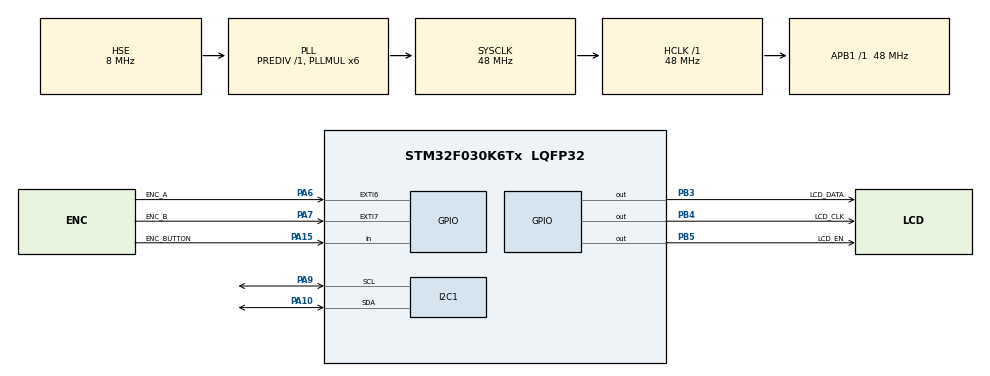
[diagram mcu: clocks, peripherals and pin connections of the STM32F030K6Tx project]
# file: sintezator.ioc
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I2C1.Timing=0x20303E5D
Mcu.Family=STM32F0
Mcu.Name=STM32F030K6Tx
Mcu.Package=LQFP32
NVIC.EXTI4_15_IRQn=true\:0\:0\:true\:false\:true\:true\:true
PA10.GPIO_Pu=GPIO_PULLUP
PA10.Mode=I2C
PA10.Signal=I2C1_SDA
PA13.Mode=Serial_Wire
PA13.Signal=SYS_SWDIO
PA14.Mode=Serial_Wire
PA14.Signal=SYS_SWCLK
PA15.GPIO_Label=ENC_BUTTON
PA15.GPIO_PuPd=GPIO_PULLUP
PA15.Signal=GPIO_Input
PA6.GPIO_Label=ENC_A
PA6.GPIO_ModeDefaultEXTI=GPIO_MODE_IT_RISING_FALLING
PA6.GPIO_PuPd=GPIO_PULLUP
PA6.Signal=GPXTI6
PA7.GPIO_Label=ENC_B
PA7.GPIO_ModeDefaultEXTI=GPIO_MODE_IT_RISING_FALLING
PA7.GPIO_PuPd=GPIO_PULLUP
PA7.Signal=GPXTI7
PA9.GPIO_Pu=GPIO_PULLUP
PA9.Mode=I2C
PA9.Signal=I2C1_SCL
PB3.GPIO_Label=LCD_DATA
PB3.Signal=GPIO_Output
PB4.GPIO_Label=LCD_CLK
PB4.Signal=GPIO_Output
PB5.GPIO_Label=LCD_EN
PB5.Signal=GPIO_Output
PF0-OSC_IN.Mode=HSE-External-Oscillator
PF0-OSC_IN.Signal=RCC_OSC_IN
PF1-OSC_OUT.Mode=HSE-External-Oscillator
PF1-OSC_OUT.Signal=RCC_OSC_OUT
ProjectManager.HeapSize=0x200
ProjectManager.StackSize=0x400
ProjectManager.TargetToolchain=STM32CubeIDE
RCC.AHBFreq_Value=48000000
RCC.APB1Freq_Value=48000000
RCC.APB1TimFreq_Value=48000000
RCC.EnbaleCSS=true
RCC.HCLKFreq_Value=48000000
RCC.I2c1ClockSelection=RCC_I2C1CLKSOURCE_SYSCLK
RCC.PLLMUL=RCC_PLL_MUL6
RCC.PLLSourceVirtual=RCC_PLLSOURCE_HSE
RCC.SYSCLKFreq_VALUE=48000000
RCC.SYSCLKSource=RCC_SYSCLKSOURCE_PLLCLK
board=custom

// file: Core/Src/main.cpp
/* USER CODE BEGIN Header */
/**
  ******************************************************************************
  * @file           : main.c
  * @brief          : Main program body
  ******************************************************************************
  * @attention
  *
  * Copyright (c) 2022 STMicroelectronics.
  * All rights reserved.
  *
  * This software is licensed under terms that can be found in the LICENSE file
  * in the root directory of this software component.
  * If no LICENSE file comes with this software, it is provided AS-IS.
  *
  ******************************************************************************
  */
/* USER CODE END Header */
#include "main.h"

/* USER CODE BEGIN Includes */
#include "LCD.h"
#include "encoder.h"
#include "si5351.h"
#include "veeprom.h"
/* USER CODE END Includes */

/* USER CODE BEGIN PD */
#define BUTTONS (~GPIOA->IDR & ENC_BUTTON_Pin)
/* USER CODE END PD */

I2C_HandleTypeDef hi2c1;
LCD lcd;
FLASH_EEPROM eeprom;

volatile bool change = true;
extern int8_t encoder_val;

unsigned long freq = 3100000UL;

// 0=not in menu, 1=selects menu item, 2=selects parameter value
volatile int8_t menumode = 0;

uint8_t prev_bandval = 1;
uint8_t bandval = 1;
#define N_BANDS 12
const char* band_label[N_BANDS] = { "160m", "100m", "80m", "60m", "40m", "30m", "20m", "17m", "15m", "12m", "10m", "6m" };

const char* stepsize_label[] = { "10M", "1M", "0.5M", "100k", "10k", "1k", "0.5k", "100", "10", "1" };
enum step_t { STEP_10M, STEP_1M, STEP_500k, STEP_100k, STEP_10k, STEP_1k, STEP_500, STEP_100, STEP_10, STEP_1 };
uint32_t stepsizes[10] = { 10000000, 1000000, 500000, 100000, 10000, 1000, 500, 100, 10, 1 };
volatile uint8_t stepsize = STEP_1k;
uint8_t prev_stepsize[] = { STEP_1k, STEP_500 }; //default stepsize for resp. SSB, CW

volatile uint8_t prev_menumode = 0;
volatile int8_t menu = 0;  // current parameter id selected in menu

volatile uint8_t event;
typedef enum {
   BUTTON_TX = 0x10, BUTTON_IF = 0x20, BUTTON_ENCODER = 0x30, BUTTON_RIT = 0x40
} event_t;

typedef enum
{
    NO_PRESS,
    SINGLE_PRESS = 0x01,
    LONG_PRESS = 0x02,
    DOUBLE_PRESS = 0x03,
    PRESS_TURN = 0x04,
    PLC = 0x05
} eButtonEvent;

typedef enum
{
  _NULL_PARAM, VOLUME, MODE, FILTER, BAND, STEP, VFOSEL, RIT, AGC,
  ATT, SMETER, SWRMETER, CWDEC, CWTONE, CWOFF, SEMIQSK, KEY_WPM, KEY_MODE,
  DRIVE, PWM_MIN, PWM_MAX, SI5351_FXTAL, VFO_A, VERS,
  ALL = 0x20
} eParams_t;

const char* offon_label[2] = {"OFF", "ON"};
const char* smode_label[] = { "OFF", "dBm", "S", "S-bar", "wpm", "Vss" };
const char* swr_label[] = { "OFF", "FWD-SWR", "FWD-REF", "VFWD-VREF" };
const char* att_label[] = { "0dB", "-13dB", "-20dB", "-33dB", "-40dB", "-53dB", "-60dB", "-73dB" };

volatile int8_t volume = 12;
volatile int8_t filt = 0;

int8_t eeprom_version;
unsigned long eeprom_addr;

// Support functions for parameter and menu handling
typedef enum { UPDATE, UPDATE_MENU, NEXT_MENU, LOAD, SAVE, SKIP, NEXT_CH } action_t;

const char* mode_label[5] = { "LSB", "USB", "CW ", "FM ", "AM " };
typedef enum { LSB, USB, CW, FM, AM } eMode_t;
volatile int8_t mode = AM;

#define N_FILT 7
int8_t prev_filt[] = { 0 , 4 }; // default filter for modes resp. CW, SSB
const char* filt_label[N_FILT + 1] = { "Full", "3000", "2400", "1800", "500", "200", "100", "50" };

static int16_t pwm_min = 0;    // PWM value for which PA reaches its minimum: 29 when C31 installed;   0 when C31 removed;   0 for biasing BS170 directly
static int16_t pwm_max = 128;  // PWM value for which PA reaches its maximum:                                              128 for biasing BS170 directly

unsigned long si5351_XTAL = SI5351_XTAL_FREQ;

void SystemClock_Config(void);
static void MX_GPIO_Init(void);
static void MX_I2C1_Init(void);
/* USER CODE BEGIN PFP */
void stepsize_showcursor();
void process_encoder_tuning_step(int8_t steps);
void display_vfo(int32_t freq);
void show_banner();
void stepsize_change(int8_t val);
template <typename T> void paramAction(uint8_t action, T& value, uint8_t menuid, const char *label, const char* enumArray[], int32_t _min, int32_t _max, bool continuous);
int8_t paramAction(uint8_t action, uint8_t id);
/* USER CODE END PFP */

int main(void)
{

  /* MCU Configuration--------------------------------------------------------*/

  /* Reset of all peripherals, Initializes the Flash interface and the Systick. */
  HAL_Init();

  /* Configure the system clock */
  SystemClock_Config();

  /* Initialize all configured peripherals */
  MX_GPIO_Init();
  MX_I2C1_Init();
  /* USER CODE BEGIN 2 */
  lcd.init();

  // Load parameters from EEPROM, reset to factory defaults when stored values are from a different version
/*
  paramAction(LOAD, VERS);
  if((eeprom_version != get_version_id()) || _digitalRead(BUTTONS)){  // EEPROM clean: if rotary-key pressed or version signature in EEPROM does NOT corresponds with this firmware
    eeprom_version = get_version_id();
    paramAction(SAVE);  // save default parameter values
    lcd.setCursor(0, 1); lcd.print(F("Reset settings.."));
    delay(500); wdt_reset();
  } else {
    paramAction(LOAD);  // load all parameters
  }
*/
  paramAction(LOAD, ALL);  // load all parameters

  show_banner();
  lcd.setCursor(7, 0); lcd.print(" R"); lcd.print(VERSION); lcd.blanks();

  si5351_init(&hi2c1, SI5351_BUS_BASE_ADDR, SI5351_CRYSTAL_LOAD_10PF, si5351_XTAL, 0);
  si5351_drive_strength(SI5351_CLK0, SI5351_DRIVE_8MA);
  si5351_drive_strength(SI5351_CLK1, SI5351_DRIVE_8MA);
  si5351_drive_strength(SI5351_CLK2, SI5351_DRIVE_8MA);

  si5351_set_freq(100 * 1e6 * 100ULL, SI5351_CLK0);
  si5351_set_freq(101 * 1e6 * 100ULL, SI5351_CLK1);
  si5351_set_freq(102 * 1e6 * 100ULL, SI5351_CLK2);

  /* USER CODE END 2 */

  /* Infinite loop */
  while (1)
  {

    /* USER CODE BEGIN 3 */
    if (BUTTONS) {
      if(!((event & LONG_PRESS) || (event & PLC))) {  // hack: if there was long-push before, then fast forward
        event = SINGLE_PRESS;
        uint32_t t0 = HAL_GetTick();

        for(; BUTTONS;) { // until released or long-press
          if((HAL_GetTick() - t0) > 300) { event = LONG_PRESS; break; }
        }

        //debounce
        HAL_Delay(10);
        // until 2nd press or timeout
        for(; (event != LONG_PRESS) && ((HAL_GetTick() - t0) < 500);) {
          if(BUTTONS) { event = DOUBLE_PRESS; break; }
        }

        // until released, or encoder is turned while longpress
        for(; BUTTONS;) {
          if(encoder_val && event == LONG_PRESS) { event = PRESS_TURN; break; }
        }

        event |= BUTTON_ENCODER;
      } else {
        event = (event & 0xf0) | ((encoder_val) ? PRESS_TURN : PLC);
      }

      switch(event) {
        case BUTTON_ENCODER|SINGLE_PRESS:
          stepsize_change(+1);
          break;
        case BUTTON_ENCODER|DOUBLE_PRESS:
          // short left-click while in default screen: enter menu mode
          if(!menumode) { menumode = 1; if(menu == 0) menu = 1; break; }
          // short left-click while in value selection screen: save, and return to default screen
          if(menumode) { menumode = 0; paramAction(SAVE, menu); }
          break;
        case BUTTON_ENCODER|LONG_PRESS:
            if(!menumode) { stepsize_change(-1); break; }
            if(menumode == 1) { menumode = 2; break; }
            if(menumode > 1) { menumode = 1; break; }
        case BUTTON_ENCODER|PRESS_TURN:
            for(; BUTTONS;) {
            if(encoder_val) {
              paramAction(UPDATE, VOLUME);
              if(volume < 0) { volume = 10; paramAction(SAVE, VOLUME); }
              paramAction(SAVE, VOLUME);
            }
          }
          change = true; // refresh display
          break;
        }
    } else event = 0;  // no button pressed: reset event

    // Show parameter and value
    if ((menumode) || (prev_menumode != menumode)) {
      int8_t encoder_change = encoder_val;

      if((menumode == 1) && encoder_change) {
        menu += encoder_val;   // Navigate through menu
        menu = max(1 /* 0 */, min(menu, N_PARAMS));
        menu = paramAction(NEXT_MENU, menu);  // auto probe next menu item (gaps may exist)
        encoder_val = 0;
      }

      if(encoder_change || (prev_menumode != menumode)) paramAction(UPDATE_MENU, (menumode) ? menu : 0);  // update param with encoder change and display
      prev_menumode = menumode;

      if(menumode == 2) {
        if(encoder_change) {
        }
      }
    }

    if(menumode == 0) {
      if(encoder_val) {  // process encoder tuning steps
        process_encoder_tuning_step(encoder_val);
        encoder_val = 0;
      }
    }

    if(change) {  // only change if TX is OFF, prevent simultaneous I2C bus access
      change = false;
      if(menumode == 0) {
        display_vfo(freq);
        stepsize_showcursor();
      }
    }
  }
  /* USER CODE END 3 */
}

void SystemClock_Config(void)
{
  RCC_OscInitTypeDef RCC_OscInitStruct = {0};
  RCC_ClkInitTypeDef RCC_ClkInitStruct = {0};
  RCC_PeriphCLKInitTypeDef PeriphClkInit = {0};

  /** Initializes the RCC Oscillators according to the specified parameters
  * in the RCC_OscInitTypeDef structure.
  */
  RCC_OscInitStruct.OscillatorType = RCC_OSCILLATORTYPE_HSE;
  RCC_OscInitStruct.HSEState = RCC_HSE_ON;
  RCC_OscInitStruct.PLL.PLLState = RCC_PLL_ON;
  RCC_OscInitStruct.PLL.PLLSource = RCC_PLLSOURCE_HSE;
  RCC_OscInitStruct.PLL.PLLMUL = RCC_PLL_MUL6;
  RCC_OscInitStruct.PLL.PREDIV = RCC_PREDIV_DIV1;
  if (HAL_RCC_OscConfig(&RCC_OscInitStruct) != HAL_OK)
  {
    Error_Handler();
  }
  /** Initializes the CPU, AHB and APB buses clocks
  */
  RCC_ClkInitStruct.ClockType = RCC_CLOCKTYPE_HCLK|RCC_CLOCKTYPE_SYSCLK
                              |RCC_CLOCKTYPE_PCLK1;
  RCC_ClkInitStruct.SYSCLKSource = RCC_SYSCLKSOURCE_PLLCLK;
  RCC_ClkInitStruct.AHBCLKDivider = RCC_SYSCLK_DIV1;
  RCC_ClkInitStruct.APB1CLKDivider = RCC_HCLK_DIV1;

  if (HAL_RCC_ClockConfig(&RCC_ClkInitStruct, FLASH_LATENCY_1) != HAL_OK)
  {
    Error_Handler();
  }
  PeriphClkInit.PeriphClockSelection = RCC_PERIPHCLK_I2C1;
  PeriphClkInit.I2c1ClockSelection = RCC_I2C1CLKSOURCE_SYSCLK;
  if (HAL_RCCEx_PeriphCLKConfig(&PeriphClkInit) != HAL_OK)
  {
    Error_Handler();
  }
  /** Enables the Clock Security System
  */
  HAL_RCC_EnableCSS();
}

static void MX_I2C1_Init(void)
{

  hi2c1.Instance = I2C1;
  hi2c1.Init.Timing = 0x20303E5D;
  hi2c1.Init.OwnAddress1 = 0;
  hi2c1.Init.AddressingMode = I2C_ADDRESSINGMODE_7BIT;
  hi2c1.Init.DualAddressMode = I2C_DUALADDRESS_DISABLE;
  hi2c1.Init.OwnAddress2 = 0;
  hi2c1.Init.OwnAddress2Masks = I2C_OA2_NOMASK;
  hi2c1.Init.GeneralCallMode = I2C_GENERALCALL_DISABLE;
  hi2c1.Init.NoStretchMode = I2C_NOSTRETCH_DISABLE;
  if (HAL_I2C_Init(&hi2c1) != HAL_OK)
  {
    Error_Handler();
  }
  /** Configure Analogue filter
  */
  if (HAL_I2CEx_ConfigAnalogFilter(&hi2c1, I2C_ANALOGFILTER_ENABLE) != HAL_OK)
  {
    Error_Handler();
  }
  /** Configure Digital filter
  */
  if (HAL_I2CEx_ConfigDigitalFilter(&hi2c1, 0) != HAL_OK)
  {
    Error_Handler();
  }

}

static void MX_GPIO_Init(void)
{
  GPIO_InitTypeDef GPIO_InitStruct = {0};

  /* GPIO Ports Clock Enable */
  __HAL_RCC_GPIOF_CLK_ENABLE();
  __HAL_RCC_GPIOA_CLK_ENABLE();
  __HAL_RCC_GPIOB_CLK_ENABLE();

  /*Configure GPIO pin Output Level */
  HAL_GPIO_WritePin(GPIOB, LCD_DATA_Pin|LCD_CLK_Pin|LCD_EN_Pin, GPIO_PIN_RESET);

  /*Configure GPIO pins : ENC_A_Pin ENC_B_Pin */
  GPIO_InitStruct.Pin = ENC_A_Pin|ENC_B_Pin;
  GPIO_InitStruct.Mode = GPIO_MODE_IT_RISING_FALLING;
  GPIO_InitStruct.Pull = GPIO_PULLUP;
  HAL_GPIO_Init(GPIOA, &GPIO_InitStruct);

  /*Configure GPIO pin : ENC_BUTTON_Pin */
  GPIO_InitStruct.Pin = ENC_BUTTON_Pin;
  GPIO_InitStruct.Mode = GPIO_MODE_INPUT;
  GPIO_InitStruct.Pull = GPIO_PULLUP;
  HAL_GPIO_Init(ENC_BUTTON_GPIO_Port, &GPIO_InitStruct);

  /*Configure GPIO pins : LCD_DATA_Pin LCD_CLK_Pin LCD_EN_Pin */
  GPIO_InitStruct.Pin = LCD_DATA_Pin|LCD_CLK_Pin|LCD_EN_Pin;
  GPIO_InitStruct.Mode = GPIO_MODE_OUTPUT_PP;
  GPIO_InitStruct.Pull = GPIO_NOPULL;
  GPIO_InitStruct.Speed = GPIO_SPEED_FREQ_LOW;
  HAL_GPIO_Init(GPIOB, &GPIO_InitStruct);

  /* EXTI interrupt init*/
  HAL_NVIC_SetPriority(EXTI4_15_IRQn, 0, 0);
  HAL_NVIC_EnableIRQ(EXTI4_15_IRQn);

}

/* USER CODE BEGIN 4 */
void process_encoder_tuning_step(int8_t steps)
{
  int32_t stepval = stepsizes[stepsize];
  freq += steps * stepval;
  freq = max(10000, min(999999999, freq));
  change = true;
}

void stepsize_showcursor() {
  lcd.setCursor(stepsize + 1, 1);  // display stepsize with cursor
  lcd.cursor();
}

void stepsize_change(int8_t val) {
  stepsize += val;
  if(stepsize < STEP_1M) stepsize = STEP_10;
  if(stepsize > STEP_10) stepsize = STEP_1M;
  if(stepsize == STEP_10k || stepsize == STEP_500k) stepsize += val;
  stepsize_showcursor();
}

void show_banner() {
  lcd.setCursor(0, 0);
  lcd.print("uADG");
  lcd.blanks(); lcd.blanks();
}

void HAL_GPIO_EXTI_Callback(uint16_t GPIO_Pin) {
  if(GPIO_Pin == ENC_A_Pin || GPIO_Pin == ENC_B_Pin) {
    encTick();
  }
}

void display_vfo(int32_t freq) {
  lcd.noCursor();
  lcd.setCursor(0, 1);

  int32_t scale=10e7;
  if(freq/scale == 0) { lcd.print(' '); scale/=10; }
  if(freq/scale == 0) { lcd.print(' '); scale/=10; }

  for(; scale!=1; freq %= scale, scale /= 10) {
    lcd.print(char('0' + freq/scale));
    if(scale == (int32_t)1e3 || scale == (int32_t)1e6) lcd.print('.');
  }

  lcd.print(' '); lcd.print(mode_label[mode]); lcd.print(' ');
  lcd.setCursor(15, 1); lcd.print('R');
}

// output menuid in x.y format
void printmenuid(uint8_t menuid) {
  static const char seperator[] = {'.', ' '};
  uint8_t ids[] = {(uint8_t)(menuid >> 4), (uint8_t)(menuid & 0xF)};
  for(int i = 0; i < 2; i++){
    uint8_t id = ids[i];
    if(id >= 10){
      id -= 10;
      lcd.print('1');
    }
    lcd.print(char('0' + id));
    lcd.print(seperator[i]);
  }
}

void printlabel(uint8_t action, uint8_t menuid, const char *label){
  if(action == UPDATE_MENU) {
    lcd.setCursor(0, 0);
    printmenuid(menuid);
    lcd.print(label); lcd.blanks(); lcd.blanks();
    lcd.setCursor(0, 1); // value on next line
    if(menumode >= 2) lcd.print('>');
  } else { // UPDATE (not in menu)
    lcd.setCursor(0, 1); lcd.print(label); lcd.print(": ");
  }
}

void actionCommon(uint8_t action, void * ptr, uint8_t size){
  switch(action) {
    case LOAD:
        eeprom.read((void *) ptr, (void *) eeprom_addr, size);
      break;
    case SAVE:
//        eeprom_write_block((const void *)ptr, (void *)eeprom_addr, size);
      break;
    case SKIP:
      break;
  }
  eeprom_addr += size;
}

template<typename T> void paramAction(uint8_t action, T& value, uint8_t menuid, const char *label, const char* enumArray[], int32_t _min, int32_t _max, bool continuous) {
  switch(action) {
    case UPDATE:
    case UPDATE_MENU:
      value = (int32_t)value + (sizeof(value) > 1 ? encoder_val*stepsizes[stepsize] : encoder_val);

      if ((int32_t) value < _min)
          value = (continuous) ? _max : _min;
      if ((int32_t) value > _max)
          value = (continuous) ? _min : _max;

      encoder_val = 0;

      lcd.noCursor();
      printlabel(action, menuid, label);  // print normal/menu label
      if(enumArray == NULL) {  // print value
        if((_min < 0) && (value >= 0)) lcd.print('+');  // add + sign for positive values, in case negative values are supported
        lcd.print(value);
      } else {
        lcd.print(enumArray[value]);
      }
      lcd.blanks(); lcd.blanks(); //lcd.setCursor(0, 1);
      break;
    default:
      actionCommon(action, (uint32_t *)&value, sizeof(value));
      break;
  }
}

int8_t paramAction(uint8_t action, uint8_t id = ALL)  // list of parameters
{
  if((action == SAVE) || (action == LOAD)) {
    eeprom_addr = 0x08007800;
    for(uint8_t _id = 1; _id < id; _id++) paramAction(SKIP, _id);
  }

  if(id == ALL) for (id = 1; id != N_ALL_PARAMS + 1; id++) paramAction(action, id);  // for all parameters

  switch(id) {    // Visible parameters
    case VOLUME:    paramAction(action, volume, 0x11, "Volume", NULL, -1, 16, false); break;
//    case MODE:      paramAction(action, mode, 0x12, "Mode", mode_label, 0, _N(mode_label) - 1, false); break;
//    case FILTER:    paramAction(action, filt, 0x13, "Filter BW", filt_label, 0, _N(filt_label) - 1, false); break;
//    case BAND:      paramAction(action, bandval, 0x14, "Band", band_label, 0, _N(band_label) - 1, false); break;
//    case STEP:      paramAction(action, stepsize, 0x15, "Tune Rate", stepsize_label, 0, _N(stepsize_label) - 1, false); break;
    //case AGC:       paramAction(action, eeprom_version, 0x18, "AGC", offon_label, 0, 1, false); break;
    /*
    case ATT:       paramAction(action, eeprom_version, 0x1A, "ATT", att_label, 0, 7, false); break;
    case SMETER:    paramAction(action, eeprom_version, 0x1C, "S-meter", smode_label, 0, _N(smode_label) - 1, false); break;
    case SWRMETER:  paramAction(action, eeprom_version, 0x1D, "SWR Meter", swr_label, 0, _N(swr_label) - 1, false); break;
/*
    case CWDEC:     paramAction(action, eeprom_version, 0x21, "CW Decoder", offon_label, 0, 1, false); break;
    case DRIVE:     paramAction(action, eeprom_version, 0x33, "TX Drive", NULL, 0, 8, false); break;
    */
    //case PWM_MIN:   paramAction(action, pwm_min, 0x81, "PA Bias min", NULL, 0, pwm_max - 1, false); break;
//    case PWM_MAX:   paramAction(action, pwm_max, 0x82, "PA Bias max", NULL, pwm_min, 255, false); break;

    case SI5351_FXTAL: paramAction(action, si5351_XTAL, 0x83, "Ref freq", NULL, 14000000, 28000000, false); break;
    case VFO_A:        paramAction(action, freq, 0x84, "VFO_A", NULL, 10000, 900000000, false); break;

    // Invisible parameters
    case VERS:    paramAction(action, eeprom_version, 0, NULL, NULL, 0, 0, false); break;

    // Non-parameters
    case _NULL_PARAM: menumode = 0; show_banner(); change = true; break;
    default: if((action == NEXT_MENU) && (id != N_PARAMS)) id = paramAction(action, max(1, min(N_PARAMS, id + ((encoder_val > 0) ? 1 : -1)))); break;
  }

  return id;
}

/* USER CODE END 4 */

void Error_Handler(void)
{
  __disable_irq();
  while (1)
  {
  }
}
